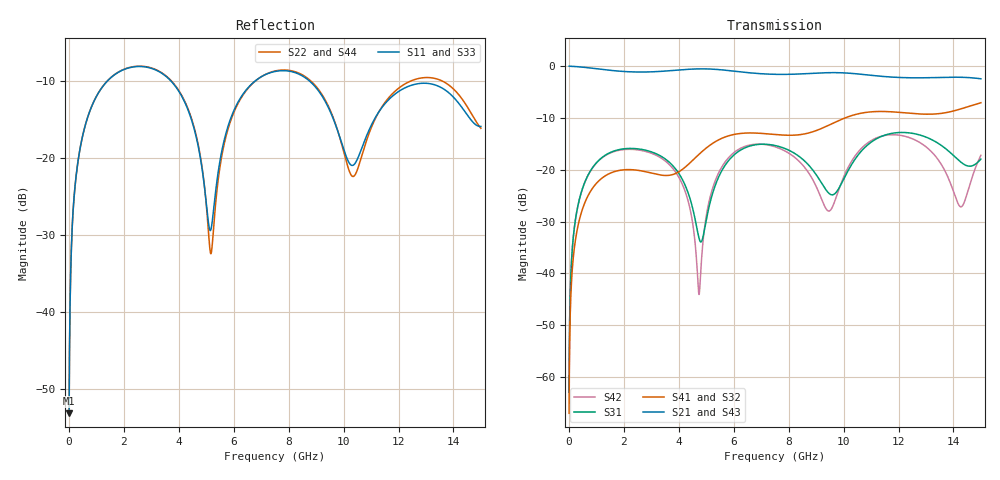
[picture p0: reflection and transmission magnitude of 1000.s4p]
! Created with skrf 1.8.0 (http://scikit-rf.org).
# GHz S RI R 50.0
!freq ReS11 ImS11 ReS12 ImS12 ReS13 ImS13
! ReS14 ImS14
! ReS21 ImS21 ReS22 ImS22 ReS23 ImS23
! ReS24 ImS24
! ReS31 ImS31 ReS32 ImS32 ReS33 ImS33
! ReS34 ImS34
! ReS41 ImS41 ReS42 ImS42 ReS43 ImS43
! ReS44 ImS44
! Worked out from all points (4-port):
!   2499 points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, 5 MHz to 15 GHz, reference 50 ohm
!   strongest paths, dB at 5 MHz, 3.476 GHz, 7.19 GHz, 11.1 GHz, 15 GHz:
!     S21: 0.0, -1.0, -1.5, -1.8, -2.4
!     S43: 0.0, -1.0, -1.5, -1.8, -2.5
!     S41: -67.0, -21.1, -13.1, -8.8, -7.1
!     S32: -67.0, -21.1, -13.1, -8.8, -7.1
!     S31: -63.0, -17.8, -15.1, -14.3, -17.9
!     S42: -63.0, -18.2, -15.2, -14.1, -17.2
!   lowest |S11| = -53.2 dB at 5 MHz (marker M1), VSWR 1.00, Z = 50.2 + j0.132 ohm
!   |S11| at or under -10 dB: start of sweep to 1.411 GHz; 3.702 GHz to 6.794 GHz (3.092 GHz wide, 58.9 % of centre); 8.745 GHz to end of sweep
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0.005  0.00174 0.00132  0.9982 -0.00339  8.82e-05 0.000703  -8.55e-05 -0.000439
       0.9982 -0.00339  0.00174 0.00132  -8.55e-05 -0.000439  8.81e-05 0.000703
       8.82e-05 0.000703  -8.55e-05 -0.000439  0.00174 0.00132  0.9982 -0.00339
       -8.55e-05 -0.000439  8.81e-05 0.000703  0.9982 -0.00339  0.00174 0.00132
0.3126303  0.0265 0.0864  0.9636 -0.2101  0.0127 0.0414  -0.0104 -0.0255
           0.9636 -0.2101  0.0266 0.0864  -0.0104 -0.0255  0.0123 0.0415
           0.0127 0.0414  -0.0104 -0.0255  0.0266 0.0864  0.9636 -0.2101
           -0.0104 -0.0255  0.0123 0.0415  0.9636 -0.2101  0.0266 0.0864
1.469362  0.2708 0.1777  0.5459 -0.731  0.1328 0.059  -0.0917 -0.00559
          0.5459 -0.731  0.2724 0.1767  -0.0916 -0.00568  0.1281 0.0654
          0.1328 0.059  -0.0916 -0.00568  0.2708 0.1777  0.5459 -0.7311
          -0.0917 -0.00559  0.1281 0.0654  0.5459 -0.7311  0.2723 0.1767
4.739475  0.0569 -0.0948  -0.8864 -0.3133  -0.0194 -0.00981  -0.042 0.1349
          -0.8864 -0.3133  0.0489 -0.1021  -0.0434 0.1344  0.00614 0.00126
          -0.0194 -0.00981  -0.0434 0.1344  0.0557 -0.0953  -0.8864 -0.3131
          -0.042 0.1349  0.00614 0.00126  -0.8864 -0.3131  0.0502 -0.1018
7.915798  0.366 -0.0183  -0.0336 0.8314  0.1301 -0.09  0.209 -0.052
          -0.0336 0.8314  0.37 -0.019  0.2092 -0.0491  0.1302 -0.0728
          0.1301 -0.09  0.2092 -0.0491  0.3688 -0.0171  -0.033 0.8304
          0.209 -0.052  0.1302 -0.0728  -0.033 0.8304  0.3721 -0.0207
10.69195  0.1087 0.048  0.8291 -0.0569  0.0483 0.1483  -0.0483 -0.35
          0.8291 -0.0569  0.0945 0.0506  -0.0425 -0.3508  0.0483 0.1577
          0.0483 0.1483  -0.0425 -0.3508  0.1079 0.046  0.8291 -0.0573
          -0.0483 -0.35  0.0483 0.1577  0.8291 -0.0573  0.0954 0.0459
15  0.1593 -0.00526  -0.6487 -0.3849  -0.1075 0.0671  -0.2243 0.382
    -0.6487 -0.3849  0.1462 -0.0519  -0.2339 0.3771  -0.0638 0.1223
    -0.1075 0.0671  -0.2339 0.3771  0.1606 -0.0112  -0.6486 -0.3833
    -0.2243 0.382  -0.0638 0.1223  -0.6486 -0.3833  0.1514 -0.06
